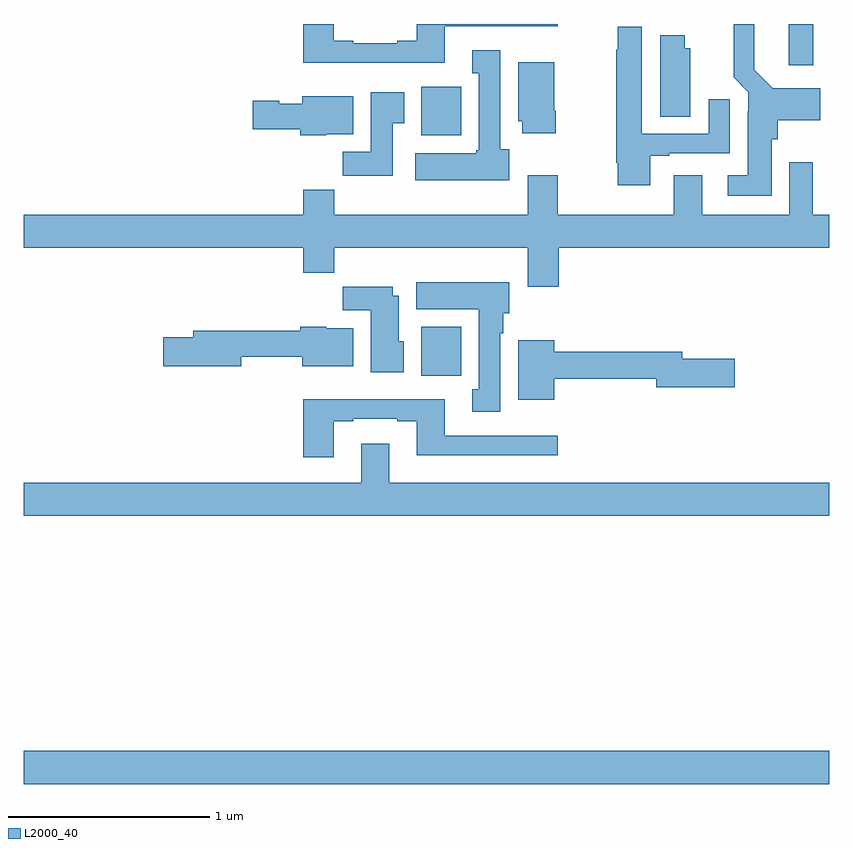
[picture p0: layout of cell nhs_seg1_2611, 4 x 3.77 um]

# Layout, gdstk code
import gdstk
lib = gdstk.Library(unit=1e-6, precision=1e-09)
def R(c, l, rs):  # rectangles x0, y0, x1, y1
    for r in rs: c.add(gdstk.rectangle(r[:2], r[2:], *l))
def P(c, l, *ps):  # polygons
    for p in ps: c.add(gdstk.Polygon(p, *l))
L2000_40 = (2000, 40)

nhs_seg1_2611 = lib.new_cell('nhs_seg1_2611')
R(nhs_seg1_2611, L2000_40, [(253,526.424,257,526.588), (254.975,528.452,255.172,528.694), (254.975,529.646,255.172,529.888), (256.799,529.995,256.922,530.199)])
P(nhs_seg1_2611, L2000_40, [(256.714,529.626),(256.745,529.626),(256.745,529.721),(256.957,529.721),(256.957,529.879),(256.719,529.879),(256.627,529.972),(256.627,530.199),(256.525,530.199),(256.525,529.934),(256.599,529.86),(256.599,529.766),(256.595,529.766),(256.595,529.447),(256.497,529.447),(256.497,529.346),(256.714,529.346)],
  [(255.091,530.187),(255.652,530.187),(255.652,530.199),(254.951,530.199),(254.951,530.116),(254.855,530.116),(254.855,530.103),(254.635,530.103),(254.635,530.116),(254.539,530.116),(254.539,530.199),(254.387,530.199),(254.387,530.006),(255.091,530.006)],
  [(256.111,529.545),(256.207,529.545),(256.207,529.557),(256.507,529.557),(256.507,529.825),(256.403,529.825),(256.403,529.653),(256.069,529.653),(256.069,530.185),(255.95,530.185),(255.95,530.072),(255.943,530.072),(255.943,529.51),(255.95,529.51),(255.95,529.398),(256.111,529.398)],
  [(256.309,530.079),(256.282,530.079),(256.282,530.143),(256.16,530.143),(256.16,529.738),(256.309,529.738)],
  [(255.412,529.578),(255.367,529.578),(255.367,530.068),(255.227,530.068),(255.227,529.955),(255.26,529.955),(255.26,529.572),(255.247,529.572),(255.247,529.558),(254.943,529.558),(254.943,529.424),(255.412,529.424)],
  [(255.642,529.768),(255.634,529.768),(255.634,530.008),(255.455,530.008),(255.455,529.716),(255.476,529.716),(255.476,529.656),(255.642,529.656)],
  [(254.833,529.705),(254.89,529.705),(254.89,529.861),(254.723,529.861),(254.723,529.564),(254.584,529.564),(254.584,529.446),(254.833,529.446)],
  [(254.502,529.652),(254.635,529.652),(254.635,529.84),(254.384,529.84),(254.384,529.804),(254.268,529.804),(254.268,529.817),(254.136,529.817),(254.136,529.675),(254.372,529.675),(254.372,529.646),(254.502,529.646)],
  [(255.656,529.088),(257,529.088),(257,529.252),(256.919,529.252),(256.919,529.513),(256.803,529.513),(256.803,529.252),(256.369,529.252),(256.369,529.447),(256.229,529.447),(256.229,529.252),(255.651,529.252),(255.651,529.447),(255.503,529.447),(255.503,529.252),(254.543,529.252),(254.543,529.376),(254.387,529.376),(254.387,529.252),(253,529.252),(253,529.088),(254.387,529.088),(254.387,528.964),(254.543,528.964),(254.543,529.088),(255.503,529.088),(255.503,528.894),(255.656,528.894)],
  [(255.367,528.662),(255.382,528.662),(255.382,528.762),(255.412,528.762),(255.412,528.916),(254.948,528.916),(254.948,528.782),(255.26,528.782),(255.26,528.386),(255.227,528.386),(255.227,528.273),(255.367,528.273)],
  [(254.887,528.624),(254.863,528.624),(254.863,528.85),(254.833,528.85),(254.833,528.895),(254.584,528.895),(254.584,528.776),(254.723,528.776),(254.723,528.47),(254.887,528.47)],
  [(254.08,528.547),(254.384,528.547),(254.384,528.5),(254.635,528.5),(254.635,528.688),(254.502,528.688),(254.502,528.694),(254.372,528.694),(254.372,528.676),(253.841,528.676),(253.841,528.642),(253.692,528.642),(253.692,528.5),(254.08,528.5)],
  [(255.634,528.436),(256.142,528.436),(256.142,528.394),(256.531,528.394),(256.531,528.536),(256.27,528.536),(256.27,528.572),(255.634,528.572),(255.634,528.628),(255.455,528.628),(255.455,528.332),(255.634,528.332)],
  [(254.539,528.225),(254.635,528.225),(254.635,528.237),(254.855,528.237),(254.855,528.225),(254.951,528.225),(254.951,528.056),(255.652,528.056),(255.652,528.153),(255.091,528.153),(255.091,528.334),(254.387,528.334),(254.387,528.048),(254.539,528.048)],
  [(257,527.92),(254.815,527.92),(254.815,528.115),(254.675,528.115),(254.675,527.92),(253,527.92),(253,527.756),(257,527.756)])

lib.write_gds('nhs_seg1_2611.gds')
